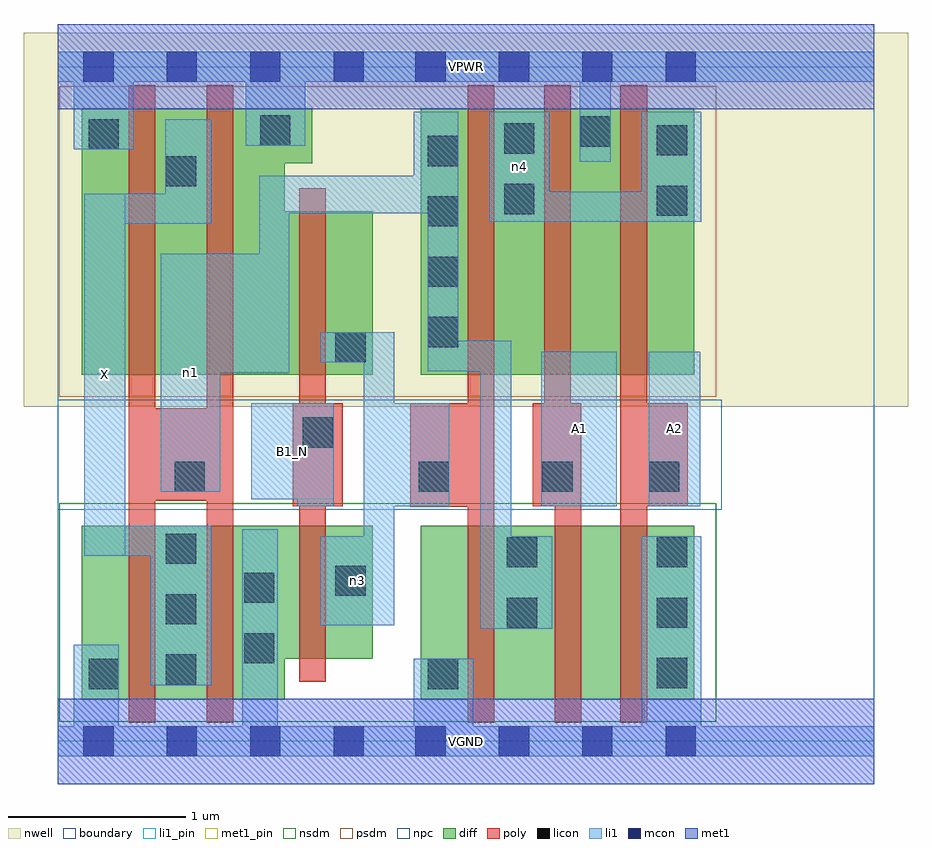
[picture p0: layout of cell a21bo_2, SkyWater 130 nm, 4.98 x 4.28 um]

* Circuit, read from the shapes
.subckt a21bo_2 A1 A2 B1_N VGND VPWR X n1 n3 n4
XM1 X n1 VGND VSUBS sky130_fd_pr__nfet_01v8 w=0.98 l=0.15 m=2
XM2 n3 B1_N VGND VSUBS sky130_fd_pr__nfet_01v8 w=0.75 l=0.15
XM3 n1 n3 VGND VSUBS sky130_fd_pr__nfet_01v8 w=0.98 l=0.15
XM4 n2 A1 n1 VSUBS sky130_fd_pr__nfet_01v8 w=0.98 l=0.15
XM5 VGND A2 n2 VSUBS sky130_fd_pr__nfet_01v8 w=0.98 l=0.15
XM6 X n1 VPWR n5 sky130_fd_pr__pfet_01v8 w=1.5 l=0.15 m=2
XM7 n3 B1_N VPWR n5 sky130_fd_pr__pfet_01v8 w=0.92 l=0.15
XM8 n4 n3 n1 n5 sky130_fd_pr__pfet_01v8 w=1.5 l=0.15
XM9 VPWR A1 n4 n5 sky130_fd_pr__pfet_01v8 w=1.5 l=0.15
XM10 n4 A2 VPWR n5 sky130_fd_pr__pfet_01v8 w=1.5 l=0.15
.ends

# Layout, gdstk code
import gdstk
lib = gdstk.Library(unit=1e-6, precision=1e-09)
def R(c, l, rs):  # rectangles x0, y0, x1, y1
    for r in rs: c.add(gdstk.rectangle(r[:2], r[2:], *l))
def A(c, l, x, y, w, h, nx, ny, dx, dy):  # array of equal rectangles
    R(c, l, [(x+i*dx, y+j*dy, x+i*dx+w, y+j*dy+h) for i in range(nx) for j in range(ny)])
nwell = (64, 20)
diff = (65, 20)
poly = (66, 20)
licon = (66, 44)
li1_pin = (67, 16)
li1 = (67, 20)
mcon = (67, 44)
met1_pin = (68, 16)
met1 = (68, 20)
nsdm = (93, 44)
psdm = (94, 20)
npc = (95, 20)
boundary = (235, 4)

a21bo_2 = lib.new_cell('a21bo_2')
R(a21bo_2, nwell, [(-0.19,1.885,4.79,3.99), (0,1.885,4.6,3.99)])
R(a21bo_2, diff, [(0.135,0.235,1.28,1.215), (2.045,0.235,3.585,1.215), (0.135,0.465,1.775,1.215), (0.135,2.065,1.28,3.565), (0.135,2.065,1.775,2.985), (2.045,2.065,3.585,3.565), (0.135,3.255,1.435,3.565)])
R(a21bo_2, poly, [(0.4,0.105,0.55,3.695), (0.84,0.105,0.99,3.695), (2.31,0.105,2.46,3.695), (2.8,0.105,2.95,1.905), (3.17,0.105,3.32,3.695), (1.36,0.335,1.51,3.115), (1.985,1.32,2.46,1.905), (1.325,1.325,1.605,1.905), (2.675,1.325,2.95,1.905), (2.74,1.325,2.89,3.695), (3.17,1.325,3.55,1.905), (0.4,1.355,0.99,1.875)])
A(a21bo_2, licon, 3.375, 0.3, 0.17, 0.17, 1, 3, 0, 0.34)
A(a21bo_2, licon, 0.61, 0.32, 0.17, 0.17, 1, 3, 0, 0.34)
A(a21bo_2, licon, 2.085, 2.22, 0.17, 0.17, 1, 4, 0, 0.34)
R(a21bo_2, licon, [(0.175,0.295,0.345,0.465), (2.085,0.295,2.255,0.465), (1.05,0.44,1.22,0.61), (2.53,0.64,2.7,0.81), (1.05,0.78,1.22,0.95), (1.565,0.82,1.735,0.99), (2.53,0.98,2.7,1.15), (0.66,1.405,0.83,1.575), (2.035,1.405,2.205,1.575), (2.73,1.405,2.9,1.575), (3.33,1.405,3.5,1.575), (1.38,1.655,1.55,1.825), (1.565,2.135,1.735,2.305), (3.375,2.96,3.545,3.13), (2.515,2.97,2.685,3.14), (0.61,3.125,0.78,3.295), (3.375,3.3,3.545,3.47), (2.515,3.31,2.685,3.48), (0.175,3.335,0.345,3.505), (2.945,3.35,3.115,3.52), (1.14,3.355,1.31,3.525)])
R(a21bo_2, li1_pin, [(0.15,1.045,0.38,3.085), (2.725,1.325,3.15,2.195), (3.33,1.325,3.62,2.195), (1.09,1.365,1.555,1.905)])
R(a21bo_2, li1, [(0,-0.085,4.6,0.085), (0.09,-0.085,0.345,0.545), (1.04,-0.085,1.24,1.195), (2.005,-0.085,2.34,0.465), (3.29,-0.085,3.625,1.155), (0.525,0.315,0.865,1.215), (2.38,0.635,2.555,2.255), (2.38,0.635,2.785,1.155), (1.48,0.655,1.895,1.155), (1.725,0.655,1.895,2.305), (0.15,1.045,0.38,3.085), (0.15,1.045,0.865,1.215), (1.35,1.325,1.555,1.905), (1.725,1.325,2.205,1.905), (2.725,1.325,3.15,2.195), (3.33,1.325,3.62,2.195), (1.09,1.365,1.555,1.905), (0.58,1.405,0.915,2.745), (0.58,2.075,1.305,2.745), (1.135,2.075,1.305,3.185), (2.085,2.085,2.255,3.545), (2.085,2.085,2.555,2.255), (1.48,2.135,1.895,2.305), (0.15,2.915,0.865,3.085), (0.605,2.915,0.865,3.505), (2.43,2.925,2.77,3.545), (2.43,2.925,3.625,3.095), (3.29,2.925,3.625,3.545), (1.135,2.975,2.255,3.185), (2.005,2.975,2.255,3.545), (2.94,3.265,3.115,3.885), (0.09,3.335,0.43,3.885), (1.06,3.355,1.395,3.885), (0,3.715,4.6,3.885)])
A(a21bo_2, mcon, 0.145, -0.085, 0.17, 0.17, 4, 2, 0.47, 3.8)
A(a21bo_2, mcon, 2.015, -0.085, 0.17, 0.17, 4, 2, 0.47, 3.8)
R(a21bo_2, met1_pin, [(0,-0.24,4.6,0.24), (0,3.56,4.6,4.04)])
R(a21bo_2, met1, [(0,-0.24,4.6,0.24), (0,3.56,4.6,4.04)])
R(a21bo_2, nsdm, [(0.01,0.11,3.71,1.34)])
R(a21bo_2, psdm, [(0.01,1.94,3.71,3.69)])
R(a21bo_2, npc, [(0,1.305,3.74,1.925)])
R(a21bo_2, boundary, [(0,0,4.6,3.8)])
a21bo_2.add(gdstk.Label('A1', (2.937,1.76), layer=67, texttype=5))
a21bo_2.add(gdstk.Label('A2', (3.475,1.76), layer=67, texttype=5))
a21bo_2.add(gdstk.Label('B1_N', (1.322,1.635), layer=67, texttype=5))
a21bo_2.add(gdstk.Label('X', (0.265,2.065), layer=67, texttype=5))
a21bo_2.add(gdstk.Label('n3', (1.687,0.905), layer=67, texttype=5))
a21bo_2.add(gdstk.Label('n1', (0.747,2.075), layer=67, texttype=5))
a21bo_2.add(gdstk.Label('n4', (2.6,3.235), layer=67, texttype=5))
a21bo_2.add(gdstk.Label('VPWR', (2.3,3.8), layer=68, texttype=5))
a21bo_2.add(gdstk.Label('VGND', (2.3,0), layer=68, texttype=5))
a21bo_2.add(gdstk.Label('A1', (2.937,1.76), layer=67, texttype=16))
a21bo_2.add(gdstk.Label('A2', (3.475,1.76), layer=67, texttype=16))
a21bo_2.add(gdstk.Label('B1_N', (1.322,1.635), layer=67, texttype=16))
a21bo_2.add(gdstk.Label('X', (0.265,2.065), layer=67, texttype=16))
a21bo_2.add(gdstk.Label('VPWR', (2.3,3.8), layer=68, texttype=16))
a21bo_2.add(gdstk.Label('VGND', (2.3,0), layer=68, texttype=16))

lib.write_gds('a21bo_2.gds')
